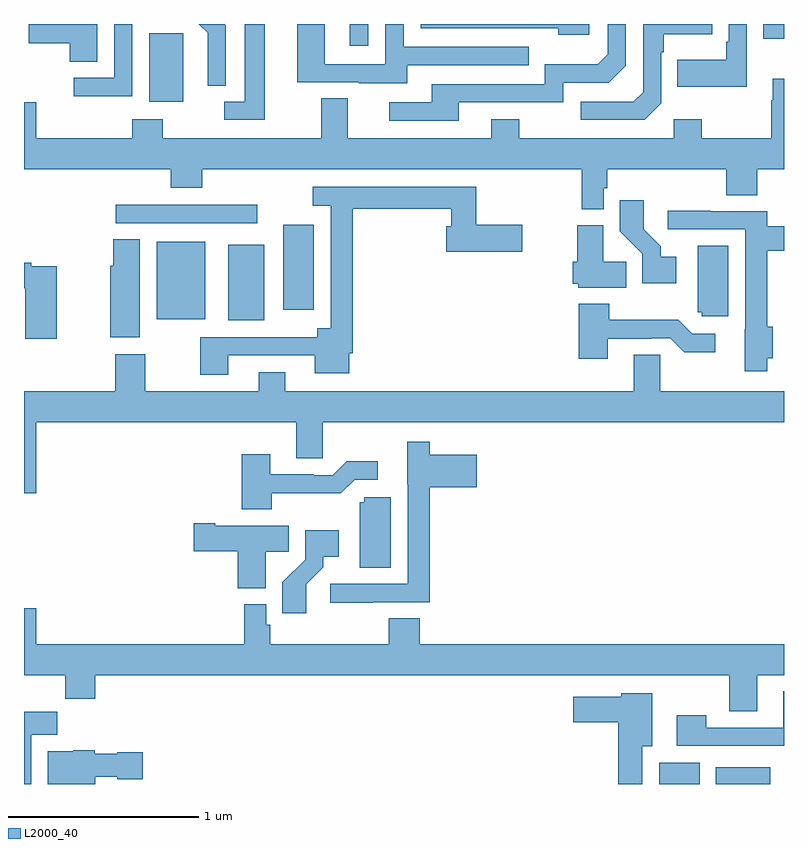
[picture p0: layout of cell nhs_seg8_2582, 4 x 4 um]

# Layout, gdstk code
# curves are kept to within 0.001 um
import gdstk
lib = gdstk.Library(unit=1e-6, precision=1e-09)
def R(c, l, rs):  # rectangles x0, y0, x1, y1
    for r in rs: c.add(gdstk.rectangle(r[:2], r[2:], *l))
def P(c, l, *ps):  # polygons
    for p in ps: c.add(gdstk.Polygon(p, *l))
L2000_40 = (2000, 40)

nhs_seg8_2582 = lib.new_cell('nhs_seg8_2582')
R(nhs_seg8_2582, L2000_40, [(276.344,1143.9,276.556,1144.012), (276.641,1143.9,276.928,1143.988), (274.076,1146.341,274.264,1146.739), (273.698,1146.347,273.955,1146.754), (274.364,1146.396,274.525,1146.844), (273.483,1146.852,274.228,1146.948), (273.659,1147.49,273.838,1147.851), (274.715,1147.785,274.812,1147.9), (276.891,1147.823,277,1147.9)])
P(nhs_seg8_2582, L2000_40, [(275.974,1147.9),(275.088,1147.9),(275.088,1147.878),(275.813,1147.878),(275.813,1147.844),(275.974,1147.844)],
  [(275.287,1147.488),(275.838,1147.488),(275.838,1147.59),(276.078,1147.59),(276.168,1147.68),(276.168,1147.9),(276.072,1147.9),(276.072,1147.74),(276.019,1147.687),(275.742,1147.687),(275.742,1147.584),(275.147,1147.584),(275.147,1147.488),(274.923,1147.488),(274.923,1147.392),(275.287,1147.392)],
  [(274.267,1147.9),(274.163,1147.9),(274.163,1147.491),(274.053,1147.491),(274.053,1147.395),(274.267,1147.395)],
  [(275.017,1147.683),(275.657,1147.683),(275.657,1147.779),(274.998,1147.779),(274.998,1147.9),(274.902,1147.9),(274.902,1147.689),(274.584,1147.689),(274.584,1147.9),(274.439,1147.9),(274.439,1147.593),(274.763,1147.593),(274.763,1147.589),(275.017,1147.589)],
  [(273.385,1147.9),(273.024,1147.9),(273.024,1147.798),(273.242,1147.798),(273.242,1147.702),(273.385,1147.702)],
  [(276.804,1147.9),(276.708,1147.9),(276.708,1147.807),(276.696,1147.807),(276.696,1147.711),(276.439,1147.711),(276.439,1147.571),(276.804,1147.571)],
  [(276.354,1147.482),(276.354,1147.751),(276.367,1147.751),(276.367,1147.847),(276.623,1147.847),(276.623,1147.9),(276.258,1147.9),(276.258,1147.542),(276.207,1147.491),(275.931,1147.491),(275.931,1147.395),(276.267,1147.395)],
  [(273.57,1147.9),(273.474,1147.9),(273.474,1147.617),(273.261,1147.617),(273.261,1147.519),(273.57,1147.519)],
  [(274.062,1147.894),(274.056,1147.9),(273.92,1147.9),(273.968,1147.853),(273.968,1147.73),(273.966,1147.73),(273.966,1147.576),(274.062,1147.576)],
  [(276.051,1147.035),(276.071,1147.035),(276.071,1147.136),(276.695,1147.136),(276.695,1147),(276.86,1147),(276.86,1147.136),(277,1147.136),(277,1147.612),(276.941,1147.612),(276.941,1147.499),(276.934,1147.499),(276.934,1147.3),(276.567,1147.3),(276.567,1147.399),(276.42,1147.399),(276.42,1147.3),(275.607,1147.3),(275.607,1147.399),(275.459,1147.399),(275.459,1147.3),(274.705,1147.3),(274.705,1147.508),(274.565,1147.508),(274.565,1147.3),(273.729,1147.3),(273.729,1147.399),(273.569,1147.399),(273.569,1147.3),(273.064,1147.3),(273.064,1147.489),(273,1147.489),(273,1147.136),(273.773,1147.136),(273.773,1147.037),(273.938,1147.037),(273.938,1147.136),(275.935,1147.136),(275.935,1146.926),(276.051,1146.926)],
  [(274.075,1146.156),(274.529,1146.156),(274.529,1146.062),(274.711,1146.062),(274.711,1146.166),(274.73,1146.166),(274.73,1146.928),(275.249,1146.928),(275.249,1146.835),(275.222,1146.835),(275.222,1146.701),(275.623,1146.701),(275.623,1146.843),(275.381,1146.843),(275.381,1147.044),(274.521,1147.044),(274.521,1146.944),(274.614,1146.944),(274.614,1146.298),(274.544,1146.298),(274.544,1146.252),(273.928,1146.252),(273.928,1146.054),(274.075,1146.054)],
  [(276.433,1146.676),(276.352,1146.676),(276.352,1146.731),(276.262,1146.821),(276.262,1146.973),(276.136,1146.973),(276.136,1146.81),(276.255,1146.691),(276.255,1146.536),(276.433,1146.536)],
  [(276.911,1146.14),(276.941,1146.14),(276.941,1146.306),(276.911,1146.306),(276.911,1146.706),(277,1146.706),(277,1146.835),(276.911,1146.835),(276.911,1146.915),(276.611,1146.915),(276.611,1146.918),(276.387,1146.918),(276.387,1146.819),(276.795,1146.819),(276.795,1146.294),(276.794,1146.294),(276.794,1146.072),(276.911,1146.072)],
  [(276.17,1146.65),(276.049,1146.65),(276.049,1146.841),(275.912,1146.841),(275.912,1146.648),(275.888,1146.648),(275.888,1146.534),(275.916,1146.534),(275.916,1146.512),(276.17,1146.512)],
  [(273.61,1146.767),(273.469,1146.767),(273.469,1146.627),(273.455,1146.627),(273.455,1146.251),(273.61,1146.251)],
  [(276.706,1146.733),(276.545,1146.733),(276.545,1146.384),(276.567,1146.384),(276.567,1146.363),(276.706,1146.363)],
  [(273.172,1146.624),(273.038,1146.624),(273.038,1146.644),(273,1146.644),(273,1146.508),(273.007,1146.508),(273.007,1146.243),(273.172,1146.243)],
  [(276.073,1146.243),(276.302,1146.243),(276.302,1146.246),(276.402,1146.246),(276.475,1146.173),(276.637,1146.173),(276.637,1146.27),(276.516,1146.27),(276.443,1146.343),(276.081,1146.343),(276.081,1146.427),(275.921,1146.427),(275.921,1146.138),(276.073,1146.138)],
  [(274.433,1145.614),(274.572,1145.614),(274.572,1145.804),(277,1145.804),(277,1145.968),(276.348,1145.968),(276.348,1146.158),(276.209,1146.158),(276.209,1145.968),(274.375,1145.968),(274.375,1146.067),(274.235,1146.067),(274.235,1145.968),(273.639,1145.968),(273.639,1146.163),(273.479,1146.163),(273.479,1145.968),(273,1145.968),(273,1145.43),(273.064,1145.43),(273.064,1145.804),(274.433,1145.804)],
  [(274.835,1144.857),(275.135,1144.857),(275.135,1145.462),(275.383,1145.462),(275.383,1145.632),(275.135,1145.632),(275.135,1145.701),(275.018,1145.701),(275.018,1145.478),(275.019,1145.478),(275.019,1144.953),(274.611,1144.953),(274.611,1144.855),(274.835,1144.855)],
  [(274.305,1145.43),(274.667,1145.429),(274.74,1145.502),(274.861,1145.502),(274.861,1145.599),(274.699,1145.599),(274.626,1145.526),(274.526,1145.526),(274.526,1145.529),(274.297,1145.529),(274.297,1145.635),(274.145,1145.635),(274.145,1145.345),(274.305,1145.345)],
  [(274.93,1145.409),(274.791,1145.409),(274.791,1145.382),(274.766,1145.382),(274.766,1145.038),(274.93,1145.038)],
  [(274.273,1145.122),(274.394,1145.122),(274.394,1145.26),(274.006,1145.26),(274.006,1145.273),(273.894,1145.273),(273.894,1145.126),(274.124,1145.126),(274.124,1144.931),(274.273,1144.931)],
  [(274.486,1144.951),(274.576,1145.041),(274.576,1145.096),(274.657,1145.096),(274.657,1145.236),(274.479,1145.236),(274.479,1145.081),(274.36,1144.962),(274.36,1144.8),(274.486,1144.8)],
  [(276.859,1144.472),(277,1144.472),(277,1144.636),(275.084,1144.636),(275.084,1144.772),(274.919,1144.772),(274.919,1144.636),(274.295,1144.636),(274.295,1144.737),(274.275,1144.737),(274.275,1144.846),(274.159,1144.846),(274.159,1144.636),(273.064,1144.636),(273.064,1144.825),(273,1144.825),(273,1144.472),(273.217,1144.472),(273.217,1144.348),(273.374,1144.348),(273.374,1144.472),(276.712,1144.472),(276.712,1144.282),(276.859,1144.282)],
  [(277,1144.387),(276.995,1144.387),(276.995,1144.197),(276.591,1144.197),(276.591,1144.261),(276.435,1144.261),(276.435,1144.101),(277,1144.101)],
  [(276.253,1144.1),(276.307,1144.1),(276.307,1144.378),(276.144,1144.378),(276.144,1144.36),(275.892,1144.36),(275.892,1144.226),(276.128,1144.226),(276.128,1143.9),(276.253,1143.9)],
  [(273.037,1144.16),(273.176,1144.16),(273.176,1144.279),(273,1144.279),(273,1143.9),(273.037,1143.9)],
  [(273.376,1143.938),(273.492,1143.938),(273.492,1143.926),(273.625,1143.926),(273.625,1144.068),(273.492,1144.068),(273.492,1144.06),(273.372,1144.06),(273.372,1144.078),(273.258,1144.078),(273.258,1144.072),(273.125,1144.072),(273.125,1143.9),(273.376,1143.9)])

lib.write_gds('nhs_seg8_2582.gds')
